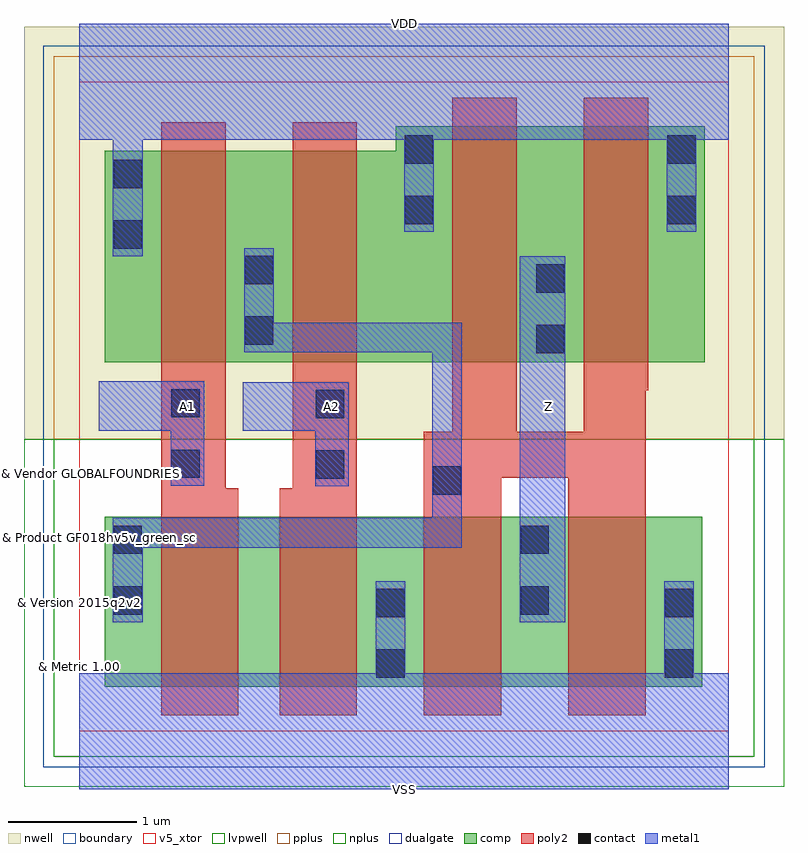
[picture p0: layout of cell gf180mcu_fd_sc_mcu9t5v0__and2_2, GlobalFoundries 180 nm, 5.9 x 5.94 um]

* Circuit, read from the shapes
.subckt gf180mcu_fd_sc_mcu9t5v0__and2_2 A1 A2 VDD VSS Z
XM1 n1 A1 n2 VSUBS nfet_05v0 w=1.32u l=0.6u
XM2 VSS A2 n1 VSUBS nfet_05v0 w=1.32u l=0.6u
XM3 Z n2 VSS VSUBS nfet_05v0 w=1.32u l=0.6u m=2
XM4 n2 A1 VDD n3 pfet_05v0 w=1.64u l=0.5u
XM5 VDD A2 n2 n3 pfet_05v0 w=1.64u l=0.5u
XM6 Z n2 VDD n3 pfet_05v0 w=1.83u l=0.5u m=2
.ends

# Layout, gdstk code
import gdstk
lib = gdstk.Library(unit=1e-6, precision=1e-09)
def R(c, l, rs):  # rectangles x0, y0, x1, y1
    for r in rs: c.add(gdstk.rectangle(r[:2], r[2:], *l))
def P(c, l, *ps):  # polygons
    for p in ps: c.add(gdstk.Polygon(p, *l))
boundary = (0, 0)
nwell = (21, 0)
comp = (22, 0)
poly2 = (30, 0)
pplus = (31, 0)
nplus = (32, 0)
contact = (33, 0)
metal1 = (34, 0)
dualgate = (55, 0)
v5_xtor = (112, 1)
lvpwell = (204, 0)

gf180mcu_fd_sc_mcu9t5v0_ = lib.new_cell('gf180mcu_fd_sc_mcu9t5v0__and2_2')
R(gf180mcu_fd_sc_mcu9t5v0_, boundary, [(0,0,5.04,5.04)])
R(gf180mcu_fd_sc_mcu9t5v0_, nwell, [(-0.43,2.265,5.47,5.47)])
R(gf180mcu_fd_sc_mcu9t5v0_, comp, [(0.195,0.345,4.835,1.665)])
P(gf180mcu_fd_sc_mcu9t5v0_, comp, [(0.195,2.865),(0.195,4.505),(2.455,4.505),(2.455,4.695),(4.855,4.695),(4.855,2.865)])
P(gf180mcu_fd_sc_mcu9t5v0_, poly2, [(0.635,0.125),(0.635,4.725),(1.135,4.725),(1.135,1.885),(1.235,1.885),(1.235,0.125)],
  [(1.555,0.125),(1.555,1.885),(1.655,1.885),(1.655,4.725),(2.155,4.725),(2.155,0.125)],
  [(2.675,0.125),(2.675,2.325),(2.895,2.325),(2.895,4.915),(3.395,4.915),(3.395,2.325),(3.915,2.325),(3.915,4.915),(4.415,4.915),(4.415,2.645),(4.395,2.645),(4.395,0.125),(3.795,0.125),(3.795,1.965),(3.275,1.965),(3.275,0.125)])
R(gf180mcu_fd_sc_mcu9t5v0_, pplus, [(-0.2,2.265,5.24,5.24)])
R(gf180mcu_fd_sc_mcu9t5v0_, nplus, [(-0.2,-0.2,5.24,2.265)])
R(gf180mcu_fd_sc_mcu9t5v0_, contact, [(2.305,0.415,2.525,0.635), (4.545,0.415,4.765,0.635), (2.305,0.885,2.525,1.105), (4.545,0.885,4.765,1.105), (0.265,0.905,0.485,1.125), (3.425,0.905,3.645,1.125), (0.265,1.375,0.485,1.595), (3.425,1.375,3.645,1.595), (2.745,1.835,2.965,2.055), (1.835,1.96,2.055,2.18), (0.715,1.965,0.935,2.185), (1.835,2.43,2.055,2.65), (0.715,2.435,0.935,2.655), (3.545,2.935,3.765,3.155), (1.285,3,1.505,3.22), (3.545,3.405,3.765,3.625), (1.285,3.47,1.505,3.69), (0.265,3.745,0.485,3.965), (2.525,3.935,2.745,4.155), (4.565,3.935,4.785,4.155), (0.265,4.215,0.485,4.435), (2.525,4.405,2.745,4.625), (4.565,4.405,4.785,4.625)])
R(gf180mcu_fd_sc_mcu9t5v0_, metal1, [(3.42,0.845,3.77,3.685)])
P(gf180mcu_fd_sc_mcu9t5v0_, metal1, [(0.71,1.905),(0.71,2.33),(0.15,2.33),(0.15,2.715),(0.97,2.715),(0.97,1.905)],
  [(1.83,1.9),(1.83,2.33),(1.27,2.33),(1.27,2.71),(2.09,2.71),(2.09,1.9)],
  [(0.26,0.845),(0.26,1.655),(2.74,1.655),(2.74,2.94),(1.28,2.94),(1.28,3.75),(1.51,3.75),(1.51,3.17),(2.97,3.17),(2.97,1.425),(0.49,1.425),(0.49,0.845)],
  [(0,-0.45),(0,0.45),(2.3,0.45),(2.3,1.165),(2.53,1.165),(2.53,0.45),(4.54,0.45),(4.54,1.165),(4.77,1.165),(4.77,0.45),(5.04,0.45),(5.04,-0.45)],
  [(0.26,3.685),(0.26,4.59),(0,4.59),(0,5.49),(5.04,5.49),(5.04,4.59),(4.79,4.59),(4.79,3.875),(4.56,3.875),(4.56,4.59),(2.75,4.59),(2.75,3.875),(2.52,3.875),(2.52,4.59),(0.49,4.59),(0.49,3.685)])
R(gf180mcu_fd_sc_mcu9t5v0_, dualgate, [(-0.28,-0.28,5.32,5.32)])
R(gf180mcu_fd_sc_mcu9t5v0_, v5_xtor, [(0,0,5.04,5.04)])
R(gf180mcu_fd_sc_mcu9t5v0_, lvpwell, [(-0.43,-0.43,5.47,2.265)])
gf180mcu_fd_sc_mcu9t5v0_.add(gdstk.Label('A1', (0.84,2.52), layer=34, texttype=10))
gf180mcu_fd_sc_mcu9t5v0_.add(gdstk.Label('A2', (1.96,2.52), layer=34, texttype=10))
gf180mcu_fd_sc_mcu9t5v0_.add(gdstk.Label('VDD', (2.52,5.49), layer=34, texttype=10))
gf180mcu_fd_sc_mcu9t5v0_.add(gdstk.Label('VSS', (2.52,-0.45), layer=34, texttype=10))
gf180mcu_fd_sc_mcu9t5v0_.add(gdstk.Label('Z', (3.64,2.52), layer=34, texttype=10))
gf180mcu_fd_sc_mcu9t5v0_.add(gdstk.Label('& Vendor GLOBALFOUNDRIES', (0,2), layer=63, texttype=63))
gf180mcu_fd_sc_mcu9t5v0_.add(gdstk.Label('& Product GF018hv5v_green_sc9', (0,1.5), layer=63, texttype=63))
gf180mcu_fd_sc_mcu9t5v0_.add(gdstk.Label('& Version 2015q2v2', (0,1), layer=63, texttype=63))
gf180mcu_fd_sc_mcu9t5v0_.add(gdstk.Label('& Metric 1.00', (0,0.5), layer=63, texttype=63))

lib.write_gds('gf180mcu_fd_sc_mcu9t5v0__and2_2.gds')
